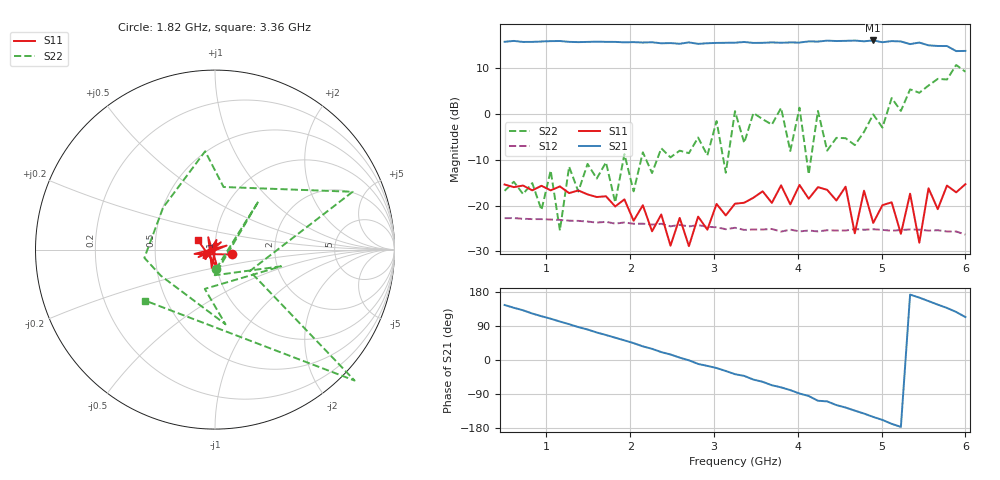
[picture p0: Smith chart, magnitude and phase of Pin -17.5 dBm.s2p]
! RsaToolbox (C) 2015 Rohde & Schwarz America
! Number of points: 51
! Number of ports: 2
! Balanced ports?: No
# Hz S RI R 50
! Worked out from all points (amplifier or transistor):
!   51 points, 500 MHz to 6 GHz, reference 50 ohm
!   highest |S21| = 16.0 dB at 4.9 GHz (marker M1)
!   |S21| within 3 dB of that: start of sweep to end of sweep
!   unconditionally stable (mu >= 1): start of sweep to 3.002 GHz; 3.047 GHz to 3.22 GHz; 4.294 GHz to 4.789 GHz (the widest 3 of 6)
!   at 1.38 GHz: K = 1.36, MAG = 15.9 dB, |S12| = -23.3 dB
!   at 3.25 GHz: K = 0.03, MSG = 20.2 dB, |S12| = -24.8 dB
!   at 6 GHz: K = -14.67, MSG = 20.0 dB, |S12| = -26.3 dB
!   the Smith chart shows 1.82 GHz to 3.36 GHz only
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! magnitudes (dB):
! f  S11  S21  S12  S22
! 500 MHz  -15.4  15.7  -22.7  -16.8
! 1.05 GHz  -16.7  15.8  -23.1  -12.4
! 1.16 GHz  -15.8  15.8  -23.1  -25.4
! 1.27 GHz  -17.3  15.6  -23.3  -11.5
! 1.49 GHz  -17.6  15.6  -23.5  -10.9
! 1.82 GHz  -20.2  15.6  -23.9  -19.3
! 1.93 GHz  -18.7  15.5  -23.7  -8.8
! 2.04 GHz  -23.3  15.6  -24.0  -16.9
! 2.37 GHz  -21.9  15.3  -24.0  -7.5
! 3.03 GHz  -19.7  15.4  -24.7  -1.6
! 3.14 GHz  -22.1  15.4  -25.2  -12.9
! 3.25 GHz  -19.6  15.5  -24.8  0.6
! 3.91 GHz  -19.7  15.5  -25.2  -8.1
! 4.02 GHz  -15.5  15.5  -25.6  1.3
! 4.13 GHz  -18.5  15.8  -25.4  -13.2
! 4.24 GHz  -16.0  15.7  -25.6  0.6
! 4.35 GHz  -16.6  15.9  -25.4  -8.0
! 4.9 GHz  -23.8  16.0  -25.2  -0.1
! 5.12 GHz  -19.3  15.8  -25.5  3.4
! 5.45 GHz  -28.1  15.5  -25.3  4.6
! 5.56 GHz  -16.2  14.9  -25.5  6.1
! 6 GHz  -15.3  13.7  -26.3  9.1
